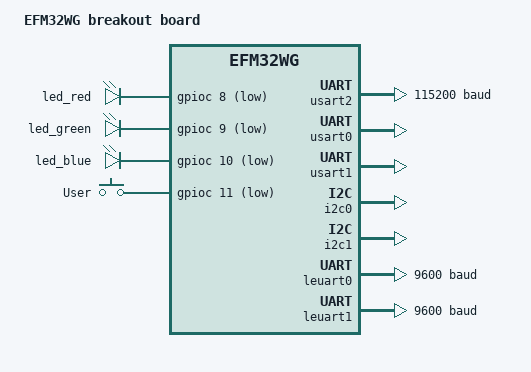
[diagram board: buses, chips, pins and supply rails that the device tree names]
/dts-v1/;
#include "efm32wg332f256.dtsi"

/ {
    model = "EFM32WG breakout board";
    compatible = "silabs,efm32wg";

    chosen {
        zephyr,console = &usart2;
        zephyr,sram = &sram0;
        zephyr,flash = &flash0;
    };

    aliases {
        led0 = &led_red;
        led1 = &led_green;
        led2 = &led_blue;
        sw0 = &user_button;
    };

    leds {
        compatible = "gpio-leds";
        led_red: led_0 {
            gpios = <&gpioc 8 GPIO_ACTIVE_LOW>;
        };
        led_green: led_1 {
            gpios = <&gpioc 9 GPIO_ACTIVE_LOW>;
        };
        led_blue: led_2 {
            gpios = <&gpioc 10 GPIO_ACTIVE_LOW>;
        };
    };

    gpio_keys {
        compatible = "gpio-keys";
        user_button: button {
            gpios = <&gpioc 11 (GPIO_ACTIVE_LOW | GPIO_PULL_UP)>;
            label = "User";
        };
    };
};

&cpu0 {
    clock-frequency = <48000000>;
};

&gpioa {
    status = "okay";
};

&gpiob {
    status = "okay";
};

&gpioc {
    status = "okay";
};

&gpiod {
    status = "okay";
};

&gpioe {
    status = "okay";
};

&gpiof {
    status = "okay";
};

&usart2 {
    status = "okay";
    current-speed = <115200>;
    location-rx = <GECKO_LOCATION(0) GECKO_PORT_C GECKO_PIN(3)>;
    location-tx = <GECKO_LOCATION(0) GECKO_PORT_C GECKO_PIN(2)>;
};

&usart0 {
    compatible = "silabs,gecko-spi-usart";
    status = "okay";
    #address-cells = <1>;
    #size-cells = <0>;

    location-rx = <GECKO_LOCATION(0) GECKO_PORT_E GECKO_PIN(11)>;
    location-tx = <GECKO_LOCATION(0) GECKO_PORT_E GECKO_PIN(10)>;
    location-clk = <GECKO_LOCATION(0) GECKO_PORT_E GECKO_PIN(12)>;
    cs-gpios = <&gpioe 13 GPIO_ACTIVE_LOW>;
};

&usart1 {
    compatible = "silabs,gecko-spi-usart";
    status = "okay";
    #address-cells = <1>;
    #size-cells = <0>;

    location-rx = <GECKO_LOCATION(0) GECKO_PORT_D GECKO_PIN(1)>;
    location-tx = <GECKO_LOCATION(0) GECKO_PORT_D GECKO_PIN(0)>;
    location-clk = <GECKO_LOCATION(0) GECKO_PORT_D GECKO_PIN(2)>;
    cs-gpios = <&gpiod 3 GPIO_ACTIVE_LOW>;
};

&i2c0 {
    status = "okay";
    location-sda = <GECKO_LOCATION(0) GECKO_PORT_A GECKO_PIN(0)>;
    location-scl = <GECKO_LOCATION(0) GECKO_PORT_A GECKO_PIN(1)>;
};

&i2c1 {
    status = "okay";
    location-sda = <GECKO_LOCATION(0) GECKO_PORT_C GECKO_PIN(4)>;
    location-scl = <GECKO_LOCATION(0) GECKO_PORT_C GECKO_PIN(5)>;
};

// driver uses LFXO clock, limited to 9600 baud/s
&leuart0 {
    status = "okay";
    current-speed = <9600>;
    location-rx = <GECKO_LOCATION(0) GECKO_PORT_E GECKO_PIN(15)>;
    location-tx = <GECKO_LOCATION(0) GECKO_PORT_E GECKO_PIN(14)>;
};

&leuart1 {
    status = "okay";
    current-speed = <9600>;
    location-rx = <GECKO_LOCATION(0) GECKO_PORT_C GECKO_PIN(7)>;
    location-tx = <GECKO_LOCATION(0) GECKO_PORT_C GECKO_PIN(6)>;
};
